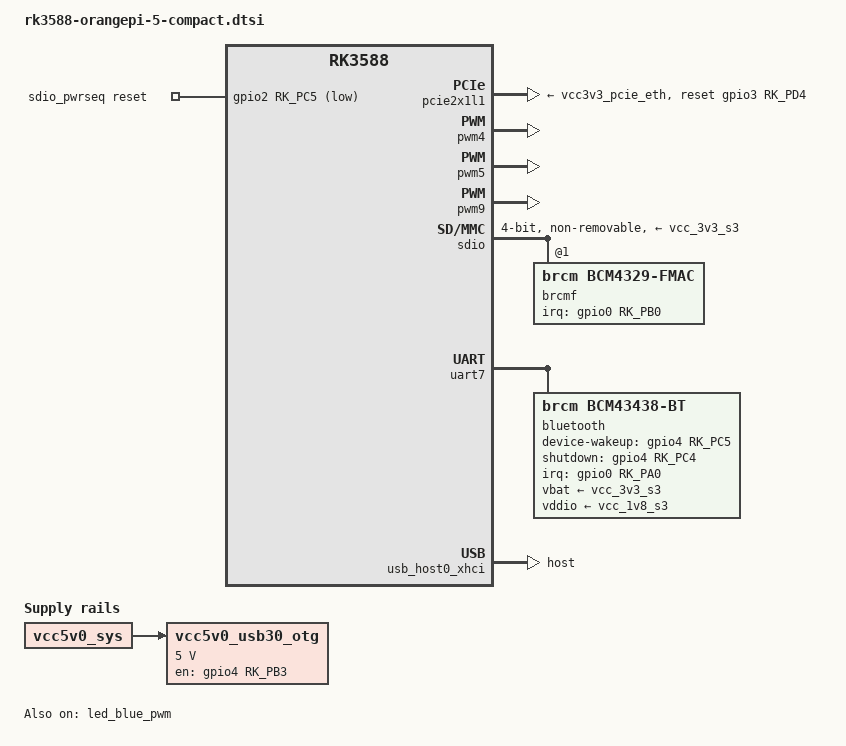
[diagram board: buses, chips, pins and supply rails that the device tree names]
// SPDX-License-Identifier: (GPL-2.0+ OR MIT)

/dts-v1/;

#include <dt-bindings/gpio/gpio.h>
#include <dt-bindings/pinctrl/rockchip.h>
#include "rk3588-orangepi-5.dtsi"

/ {
	sdio_pwrseq: sdio-pwrseq {
 		compatible = "mmc-pwrseq-simple";
 		clock-names = "ext_clock";
 		clocks = <&hym8563>;
 		pinctrl-0 = <&wifi_enable_h>;
 		pinctrl-names = "default";
 		post-power-on-delay-ms = <200>;
 		power-off-delay-us = <5000000>;
 		reset-gpios = <&gpio2 RK_PC5 GPIO_ACTIVE_LOW>;
 	};

	vcc5v0_usb30_otg: vcc5v0-usb30-otg-regulator {
		compatible = "regulator-fixed";
		enable-active-high;
		/* USB_OTG_PWREN */
		gpios = <&gpio4 RK_PB3 GPIO_ACTIVE_HIGH>;
		pinctrl-names = "default";
		pinctrl-0 = <&usb_otg_pwren>;
		regulator-name = "vcc5v0_usb30_otg";
		regulator-min-microvolt = <5000000>;
		regulator-max-microvolt = <5000000>;
		vin-supply = <&vcc5v0_sys>;
	};

	wifi {
		wifi_enable_h: wifi-enable-h {
			rockchip,pins = <2 RK_PC5 RK_FUNC_GPIO &pcfg_pull_none>;
		};

		wifi_host_wake_irq: wifi-host-wake-irq {
			rockchip,pins = <0 RK_PB0 RK_FUNC_GPIO &pcfg_pull_down>;
		};
	};
};

&headphone_amp {
	/* PHONE_CTL */
	enable-gpios = <&gpio4 RK_PB0 GPIO_ACTIVE_HIGH>;
};

&analog_sound {
	pinctrl-names = "default";
	pinctrl-0 = <&hp_detect>;
	simple-audio-card,aux-devs = <&headphone_amp>;
	simple-audio-card,hp-det-gpios = <&gpio3 RK_PD2 GPIO_ACTIVE_HIGH>;

	simple-audio-card,routing =
		"Headphones", "LOUT1",
		"Headphones", "ROUT1",
		"LINPUT1", "Microphone Jack",
		"RINPUT1", "Microphone Jack",
		"LINPUT2", "Onboard Microphone",
		"RINPUT2", "Onboard Microphone";
	simple-audio-card,widgets =
		"Microphone", "Microphone Jack",
		"Microphone", "Onboard Microphone",
		"Headphone", "Headphones";
};

&fan {
	/* FAN_CTL_H */
	pwms = <&pwm9 0 50000 0>;
};

&hym8563 {
	interrupt-parent = <&gpio0>;
	interrupts = <RK_PC4 IRQ_TYPE_LEVEL_LOW>;
	pinctrl-names = "default";
	pinctrl-0 = <&rtc_int_l>;
};

&led_blue_pwm {
	/* PWM_LED1 */
	status = "okay";
};

/* phy2 */
&pcie2x1l1 {
	reset-gpios = <&gpio3 RK_PD4 GPIO_ACTIVE_HIGH>;
	vpcie3v3-supply = <&vcc3v3_pcie_eth>;
	status = "okay";
};

&pinctrl {
	hym8563 {
		rtc_int_l: hym8563-int {
			rockchip,pins = <0 RK_PC4 RK_FUNC_GPIO &pcfg_pull_none>;
		};
	};

	sound {
		hp_detect: hp-detect {
			rockchip,pins = <3 RK_PD2 RK_FUNC_GPIO &pcfg_pull_none>;
		};
	};

	usb {
		usb_host_pwren: usb-host-pwren {
			rockchip,pins = <3 RK_PD5 RK_FUNC_GPIO &pcfg_pull_none>;
		};
	};

	wireless-bluetooth {
		bt_reg_on: bt-reg-on {
			rockchip,pins = <4 RK_PC4 RK_FUNC_GPIO &pcfg_pull_none>;
		};

		bt_wake_host: bt-wake-host {
			rockchip,pins = <0 RK_PA0 RK_FUNC_GPIO &pcfg_pull_down>;
		};

		host_wake_bt: host-wake-bt {
			rockchip,pins = <4 RK_PC5 RK_FUNC_GPIO &pcfg_pull_none>;
		};
	};
};

&pwm4 {
	pinctrl-names = "default";
	pinctrl-0 = <&pwm4m0_pins>;
	status = "okay";
};

&pwm5 {
	pinctrl-names = "default";
	pinctrl-0 = <&pwm5m1_pins>;
	status = "okay";
};

&pwm9 {
	pinctrl-names = "default";
	pinctrl-0 = <&pwm9m2_pins>;
	status = "okay";
};

&sfc {
	pinctrl-names = "default";
	pinctrl-0 = <&fspim2_pins>;
};

&u2phy0_otg {
	phy-supply = <&vcc5v0_usb30_otg>;
};

&u2phy1_otg {
	phy-supply = <&vcc5v0_usb20>;
};

&sdio {
	#address-cells = <1>;
	bus-width = <4>;
	cap-sd-highspeed;
	cap-sdio-irq;
	disable-wp;
	keep-power-in-suspend;
	max-frequency = <150000000>;
	mmc-pwrseq = <&sdio_pwrseq>;
	non-removable;
	no-mmc;
	no-sd;
	pinctrl-names = "default";
	pinctrl-0 = <&sdiom0_pins>;
	sd-uhs-sdr104;
	#size-cells = <0>;
	vmmc-supply = <&vcc_3v3_s3>;
	vqmmc-supply = <&vcc_1v8_s3>;
	status = "okay";

	brcmf: wifi@1 {
		compatible = "brcm,bcm4329-fmac";
		reg = <1>;
		interrupt-parent = <&gpio0>;
		interrupts = <RK_PB0 IRQ_TYPE_LEVEL_HIGH>;
		interrupt-names = "host-wake";
		pinctrl-0 = <&wifi_host_wake_irq>;
		pinctrl-names = "default";
	};
};

&uart7 {
	pinctrl-names = "default";
	pinctrl-0 = <&uart7m0_xfer &uart7m0_ctsn &uart7m0_rtsn>;
	uart-has-rtscts;
	status = "okay";

	bluetooth {
		compatible = "brcm,bcm43438-bt";
		clocks = <&hym8563>;
		clock-names = "lpo";
		device-wakeup-gpios = <&gpio4 RK_PC5 GPIO_ACTIVE_HIGH>;
		interrupt-parent = <&gpio0>;
		interrupts = <RK_PA0 IRQ_TYPE_EDGE_FALLING>;
		interrupt-names = "host-wakeup";
		pinctrl-names = "default";
		pinctrl-0 = <&bt_reg_on>, <&host_wake_bt>, <&bt_wake_host>;
		shutdown-gpios = <&gpio4 RK_PC4 GPIO_ACTIVE_HIGH>;
		vbat-supply = <&vcc_3v3_s3>;
		vddio-supply = <&vcc_1v8_s3>;
	};
};

&usb_host0_xhci {
	dr_mode = "host";
};

/* pcie eth. not a real regulator. 33VAUX */
&vcc3v3_pcie_eth {
	/* Ethernet_power_en */
	gpios = <&gpio0 RK_PD3 GPIO_ACTIVE_LOW>;
};

/*
 * Represents the vcc5v0_usb20 and vcc5v0_usb30 in the schematic,
 * both regulators share the same enable gpio
 */
&vcc5v0_usb20 {
	/* USB_HOST_PWREN */
	gpios = <&gpio3 RK_PD5 GPIO_ACTIVE_HIGH>;
	pinctrl-names = "default";
	pinctrl-0 = <&usb_host_pwren>;
};
